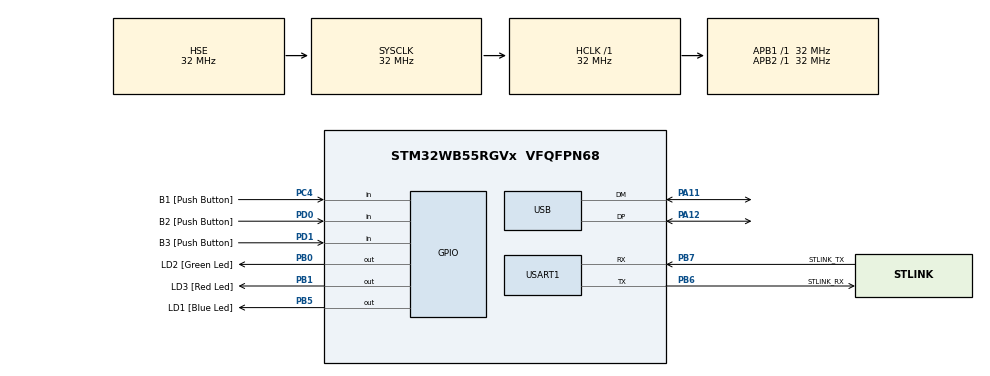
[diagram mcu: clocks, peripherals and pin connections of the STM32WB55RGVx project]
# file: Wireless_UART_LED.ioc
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Mcu.Family=STM32WB
Mcu.Name=STM32WB55RGVx
Mcu.Package=VFQFPN68
NVIC.PriorityGroup=NVIC_PRIORITYGROUP_4
NVIC.USART1_IRQn=true\:0\:0\:false\:false\:true\:true\:true
OSC_IN.Mode=HSE-External-Oscillator
OSC_IN.Signal=RCC_OSC_IN
OSC_OUT.Mode=HSE-External-Oscillator
OSC_OUT.Signal=RCC_OSC_OUT
PA11.Mode=Device
PA11.Signal=USB_DM
PA12.Mode=Device
PA12.Signal=USB_DP
PA13.GPIO_Label=JTMS
PA13.Mode=Trace_Asynchronous_SW
PA13.Signal=SYS_JTMS-SWDIO
PA14.GPIO_Label=JTCK
PA14.Mode=Trace_Asynchronous_SW
PA14.Signal=SYS_JTCK-SWCLK
PB0.GPIO_Label=LD2 [Green Led]
PB0.Signal=GPIO_Output
PB1.GPIO_Label=LD3 [Red Led]
PB1.Signal=GPIO_Output
PB3.GPIO_Label=JTDO
PB3.Mode=Trace_Asynchronous_SW
PB3.Signal=SYS_JTDO-SWO
PB5.GPIO_Label=LD1 [Blue Led]
PB5.Signal=GPIO_Output
PB6.GPIO_Label=STLINK_RX
PB6.GPIO_PuPd=GPIO_PULLUP
PB6.Mode=Asynchronous
PB6.Signal=USART1_TX
PB7.GPIO_Label=STLINK_TX
PB7.GPIO_PuPd=GPIO_PULLUP
PB7.Mode=Asynchronous
PB7.Signal=USART1_RX
PC13.Mode=SYS_WakeUp1
PC13.Signal=SYS_WKUP2
PC14-OSC32_IN.Mode=LSE-External-Oscillator
PC14-OSC32_IN.Signal=RCC_OSC32_IN
PC15-OSC32_OUT.Mode=LSE-External-Oscillator
PC15-OSC32_OUT.Signal=RCC_OSC32_OUT
PC4.GPIO_Label=B1 [Push Button]
PC4.Signal=GPIO_Input
PD0.GPIO_Label=B2 [Push Button]
PD0.Signal=GPIO_Input
PD1.GPIO_Label=B3 [Push Button]
PD1.Signal=GPIO_Input
ProjectManager.HeapSize=0x200
ProjectManager.StackSize=0x400
ProjectManager.TargetToolchain=MDK-ARM V5
RCC.ADCFreq_Value=48000000
RCC.AHBFreq_Value=32000000
RCC.APB1Freq_Value=32000000
RCC.APB1TimFreq_Value=32000000
RCC.APB2Freq_Value=32000000
RCC.APB2TimFreq_Value=32000000
RCC.APB3Freq_Value=16000000
RCC.CortexFreq_Value=32000000
RCC.HCLKFreq_Value=32000000
RCC.HSE_VALUE=32000000
RCC.HSI48_VALUE=48000000
RCC.HSI_VALUE=16000000
RCC.PLLN=32
RCC.PLLSAI1N=24
RCC.SMPSCLockSelectionVirtual=RCC_SMPSCLKSOURCE_HSI
RCC.SMPSCLockSelectionVirtualVirtual=RCC_SMPSCLKSOURCE_HSI
RCC.SMPSDivider=1
RCC.SYSCLKFreq_VALUE=32000000
RCC.SYSCLKSource=RCC_SYSCLKSOURCE_HSE
RCC.USBFreq_Value=48000000
RCC.VCOOutputFreq_Value=128000000
USART1.VirtualMode-Asynchronous=VM_ASYNC
USART1.WordLength=WORDLENGTH_7B
board=NUCLEO-WB55RG

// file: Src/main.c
/* USER CODE BEGIN Header */
/**
  ******************************************************************************
  * @file           : main.c
  * @brief          : Main program body
  ******************************************************************************
  * @attention
  *
  * <h2><center>&copy; Copyright (c) 2021 STMicroelectronics.
  * All rights reserved.</center></h2>
  *
  * This software component is licensed by ST under BSD 3-Clause license,
  * the "License"; You may not use this file except in compliance with the
  * License. You may obtain a copy of the License at:
  *                        opensource.org/licenses/BSD-3-Clause
  *
  ******************************************************************************
  */
/* USER CODE END Header */
#include "main.h"
#include "usart.h"
#include "usb.h"
#include "gpio.h"

/* USER CODE BEGIN Includes */
#include "string.h"
#include "stdio.h"
#include "stdlib.h"
/* USER CODE END Includes */

/* USER CODE BEGIN PD */
#define RX_BUFFER_SIZE 128
/* USER CODE END PD */

/* USER CODE BEGIN PV */
char *a;
char *b;
char *c;
char *d;
char *e;
uint8_t RxData, RxBuffCount=0;
char RxBuffer[RX_BUFFER_SIZE], Buffer[RX_BUFFER_SIZE];
unsigned char TransferFlag=0;
/* USER CODE END PV */

void SystemClock_Config(void);

/* USER CODE BEGIN 0 */

void HAL_UART_RxCpltCallback(UART_HandleTypeDef *huart)
{
	if(huart1.Instance == USART1)
	{
	  if(RxBuffCount <= RX_BUFFER_SIZE)
		{
			RxBuffer[RxBuffCount] = RxData;
			RxBuffCount++;
			HAL_UART_Receive_IT(&huart1, &RxData, 1);
			if((RxBuffer[RxBuffCount-1] == 0x0A)&&(RxBuffer[RxBuffCount-2] == 0x0D))
			{
				RxBuffCount = 0;
				TransferFlag = 1;
				sprintf(Buffer,"%s",RxBuffer);
			  memset(RxBuffer, 0x00, sizeof(RxBuffer));
			}
	  }
		else
		{
		  RxBuffCount = 0;
			memset(RxBuffer, 0x00, sizeof(RxBuffer));
		}
	}
}

/* USER CODE END 0 */

int main(void)
{

  /* MCU Configuration--------------------------------------------------------*/

  /* Reset of all peripherals, Initializes the Flash interface and the Systick. */
  HAL_Init();

  /* Configure the system clock */
  SystemClock_Config();

  /* Initialize all configured peripherals */
  MX_GPIO_Init();
  MX_USART1_UART_Init();
  MX_USB_PCD_Init();
  /* USER CODE BEGIN 2 */
	// Enable uart receive interrupt
  HAL_UART_Receive_IT(&huart1, &RxData, 1);
  /* USER CODE END 2 */

  /* Infinite loop */
  /* USER CODE BEGIN WHILE */
  while (1)
  {
		printf("Hello world!!!\r\n");
		HAL_Delay(100);
    /* USER CODE END WHILE */

    /* USER CODE BEGIN 3 */

		if(TransferFlag == 1)
		{
			printf("%s", Buffer);
			TransferFlag = 0;
			a = strstr(Buffer, "LD2 ON");
			b = strstr(Buffer, "LD3 ON");
			c = strstr(Buffer, "LD2 OFF");
			d = strstr(Buffer, "LD3 OFF");
			e = strstr(Buffer, "LD1 PWM");
			if(a!=NULL) {
				HAL_GPIO_WritePin(GPIOB, LD2_Pin, GPIO_PIN_SET);
			}
			if(c!=NULL) {
				HAL_GPIO_WritePin(GPIOB, LD2_Pin, GPIO_PIN_RESET);
			}
			if(b!=NULL) {
				HAL_GPIO_WritePin(GPIOB, LD3_Pin, GPIO_PIN_SET);
			}
			if(d!=NULL) {
				HAL_GPIO_WritePin(GPIOB, LD3_Pin, GPIO_PIN_RESET);
			}
		}
  }
  /* USER CODE END 3 */
}

void SystemClock_Config(void)
{
  RCC_OscInitTypeDef RCC_OscInitStruct = {0};
  RCC_ClkInitTypeDef RCC_ClkInitStruct = {0};
  RCC_PeriphCLKInitTypeDef PeriphClkInitStruct = {0};

  /** Macro to configure the PLL multiplication factor
  */
  __HAL_RCC_PLL_PLLM_CONFIG(RCC_PLLM_DIV1);
  /** Macro to configure the PLL clock source
  */
  __HAL_RCC_PLL_PLLSOURCE_CONFIG(RCC_PLLSOURCE_MSI);
  /** Configure LSE Drive Capability
  */
  HAL_PWR_EnableBkUpAccess();
  __HAL_RCC_LSEDRIVE_CONFIG(RCC_LSEDRIVE_LOW);
  /** Configure the main internal regulator output voltage
  */
  __HAL_PWR_VOLTAGESCALING_CONFIG(PWR_REGULATOR_VOLTAGE_SCALE1);
  /** Initializes the RCC Oscillators according to the specified parameters
  * in the RCC_OscInitTypeDef structure.
  */
  RCC_OscInitStruct.OscillatorType = RCC_OSCILLATORTYPE_HSI|RCC_OSCILLATORTYPE_HSE
                              |RCC_OSCILLATORTYPE_LSE|RCC_OSCILLATORTYPE_MSI;
  RCC_OscInitStruct.HSEState = RCC_HSE_ON;
  RCC_OscInitStruct.LSEState = RCC_LSE_ON;
  RCC_OscInitStruct.HSIState = RCC_HSI_ON;
  RCC_OscInitStruct.MSIState = RCC_MSI_ON;
  RCC_OscInitStruct.HSICalibrationValue = RCC_HSICALIBRATION_DEFAULT;
  RCC_OscInitStruct.MSICalibrationValue = RCC_MSICALIBRATION_DEFAULT;
  RCC_OscInitStruct.MSIClockRange = RCC_MSIRANGE_6;
  RCC_OscInitStruct.PLL.PLLState = RCC_PLL_NONE;
  if (HAL_RCC_OscConfig(&RCC_OscInitStruct) != HAL_OK)
  {
    Error_Handler();
  }
  /** Configure the SYSCLKSource, HCLK, PCLK1 and PCLK2 clocks dividers
  */
  RCC_ClkInitStruct.ClockType = RCC_CLOCKTYPE_HCLK4|RCC_CLOCKTYPE_HCLK2
                              |RCC_CLOCKTYPE_HCLK|RCC_CLOCKTYPE_SYSCLK
                              |RCC_CLOCKTYPE_PCLK1|RCC_CLOCKTYPE_PCLK2;
  RCC_ClkInitStruct.SYSCLKSource = RCC_SYSCLKSOURCE_HSE;
  RCC_ClkInitStruct.AHBCLKDivider = RCC_SYSCLK_DIV1;
  RCC_ClkInitStruct.APB1CLKDivider = RCC_HCLK_DIV1;
  RCC_ClkInitStruct.APB2CLKDivider = RCC_HCLK_DIV1;
  RCC_ClkInitStruct.AHBCLK2Divider = RCC_SYSCLK_DIV1;
  RCC_ClkInitStruct.AHBCLK4Divider = RCC_SYSCLK_DIV1;

  if (HAL_RCC_ClockConfig(&RCC_ClkInitStruct, FLASH_LATENCY_1) != HAL_OK)
  {
    Error_Handler();
  }
  /** Initializes the peripherals clocks
  */
  PeriphClkInitStruct.PeriphClockSelection = RCC_PERIPHCLK_SMPS|RCC_PERIPHCLK_USART1
                              |RCC_PERIPHCLK_USB;
  PeriphClkInitStruct.PLLSAI1.PLLN = 24;
  PeriphClkInitStruct.PLLSAI1.PLLP = RCC_PLLP_DIV2;
  PeriphClkInitStruct.PLLSAI1.PLLQ = RCC_PLLQ_DIV2;
  PeriphClkInitStruct.PLLSAI1.PLLR = RCC_PLLR_DIV2;
  PeriphClkInitStruct.PLLSAI1.PLLSAI1ClockOut = RCC_PLLSAI1_USBCLK;
  PeriphClkInitStruct.Usart1ClockSelection = RCC_USART1CLKSOURCE_PCLK2;
  PeriphClkInitStruct.UsbClockSelection = RCC_USBCLKSOURCE_PLLSAI1;
  PeriphClkInitStruct.SmpsClockSelection = RCC_SMPSCLKSOURCE_HSI;
  PeriphClkInitStruct.SmpsDivSelection = RCC_SMPSCLKDIV_RANGE0;
  if (HAL_RCCEx_PeriphCLKConfig(&PeriphClkInitStruct) != HAL_OK)
  {
    Error_Handler();
  }
  /** Enable MSI Auto calibration
  */
  HAL_RCCEx_EnableMSIPLLMode();
}

void Error_Handler(void)
{
  __disable_irq();
  while (1)
  {
  }
}

/************************ (C) COPYRIGHT STMicroelectronics *****END OF FILE****/
